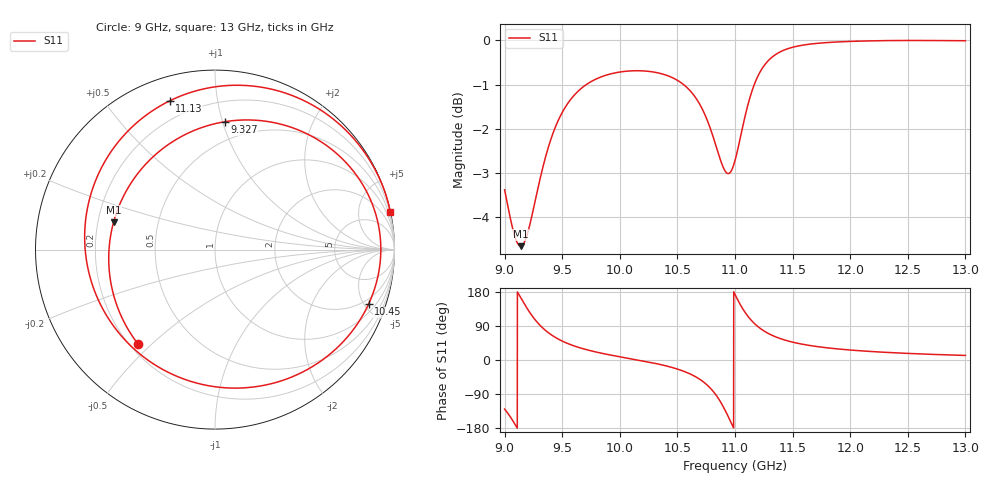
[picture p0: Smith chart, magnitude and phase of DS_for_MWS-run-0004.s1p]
! TOUCHSTONE file generated by CST DESIGN STUDIO
! Date and time: Tue Feb  4 14:35:45 2025
! Project name: C:\Work\MatlabApps\UnitCellOptimizationMatlab\CST\unitcell.cst
! Tree item: Tasks\Sweep1\SPara1\S-Parameters
! Header version: 2024
! Port assignment regex: !\s*Touchstone port\s*([0-9]+)\s*=\s*(CST MWS port|CST DES external port|CST DES block port)\s*(.+)\s* \(\"(.*)\"\)(\s*mode\s*([0-9]+))?.*
! Touchstone port assignment:
! Touchstone port 1 = CST DES external port 1 ("")
# GHz S MA R 50
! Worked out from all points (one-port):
!   4001 points, 9 GHz to 13 GHz, reference 50 ohm
!   lowest |S11| = -4.7 dB at 9.139 GHz (marker M1), VSWR 3.82, Z = 13.3 + j6.18 ohm
!   |S11| at or under -10 dB: nowhere
!   S11 on the Smith chart (normalised r, x): 9 GHz: 0.23, -0.45; 9.327 GHz: 0.35, +1.02; 10.45 GHz: 1.55, -5.37; 11.13 GHz: 0.11, +0.73; 13 GHz: 0.05, +9.50
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9  0.6778 -129.4
9.077  0.6079 -163.1
9.139  0.5855 164.9
9.234  0.6311 118.6
9.327  0.7145 85.7
9.413  0.7807 64.9
9.5  0.8289 50.0
9.706  0.8907 27.6
10  0.9209 8.5
10.452  0.9081 -19.6
10.5  0.9013 -23.9
10.605  0.8787 -36.0
10.69  0.8486 -50.1
10.763  0.81 -67.4
10.833  0.7614 -91.5
10.873  0.7331 -109.9
10.911  0.7129 -130.7
10.958  0.7091 -160.1
11  0.7314 173.0
11.07  0.8022 133.8
11.135  0.8664 106.9
11.202  0.9129 87.3
11.296  0.9506 68.9
11.5  0.9821 47.1
11.705  0.992 35.7
12  0.9972 26.3
12.5  0.9997 17.4
13  0.999 12.0
